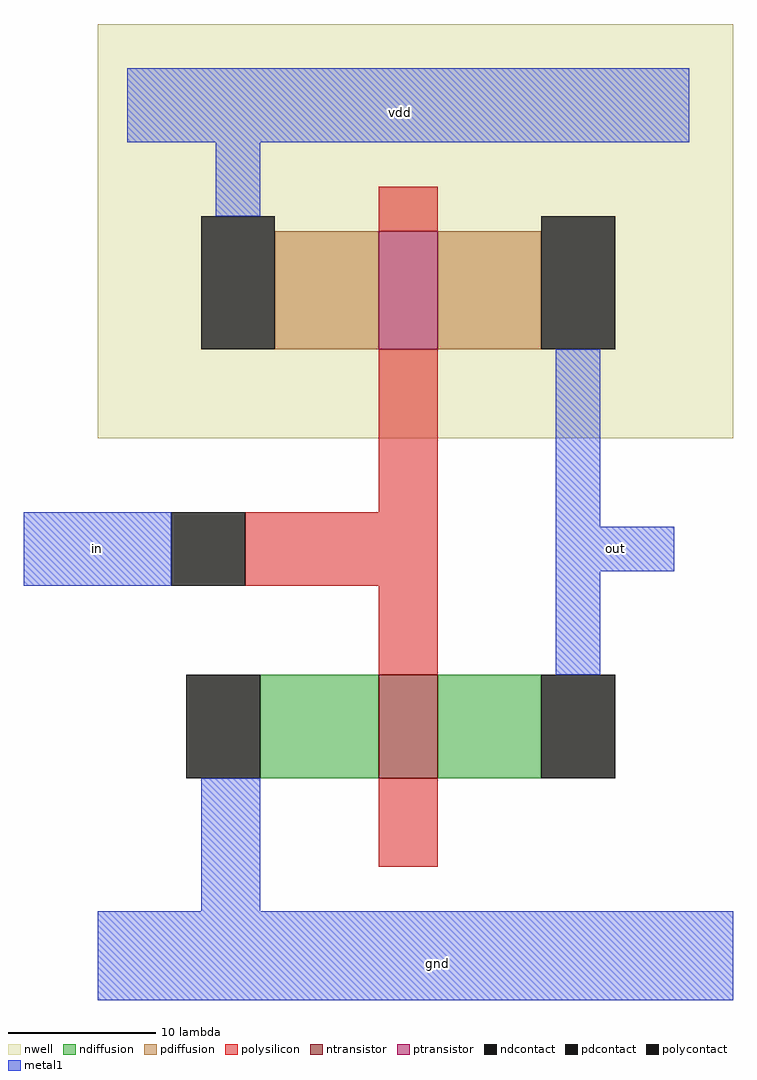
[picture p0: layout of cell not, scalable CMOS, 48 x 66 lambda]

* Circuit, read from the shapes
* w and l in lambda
.subckt not gnd in out vdd
M1 out in gnd VSUBS nfet w=7 l=4
M2 out in vdd n1 pfet w=8 l=4
.ends

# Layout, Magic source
magic
tech scmos
<< nwell >>
rect -2 10 41 38
<< ntransistor >>
rect 17 -13 21 -6
<< ptransistor >>
rect 17 16 21 24
<< ndiffusion >>
rect 9 -13 17 -6
rect 21 -13 28 -6
<< pdiffusion >>
rect 10 16 17 24
rect 21 16 28 24
<< ndcontact >>
rect 4 -13 9 -6
rect 28 -13 33 -6
<< pdcontact >>
rect 5 16 10 25
rect 28 16 33 25
<< polysilicon >>
rect 17 24 21 27
rect 17 5 21 16
rect 8 0 21 5
rect 17 -6 21 0
rect 17 -19 21 -13
<< polycontact >>
rect 3 0 8 5
<< metal1 >>
rect 0 30 38 35
rect 6 25 9 30
rect -7 0 3 5
rect 29 4 32 16
rect 29 1 37 4
rect 29 -6 32 1
rect 5 -22 9 -13
rect -2 -28 41 -22
<< labels >>
rlabel metal1 16 31 21 33 1 vdd
rlabel metal1 29 1 37 4 1 out
rlabel metal1 -6 1 2 4 3 in
rlabel metal1 17 -27 25 -24 1 gnd
<< end >>
